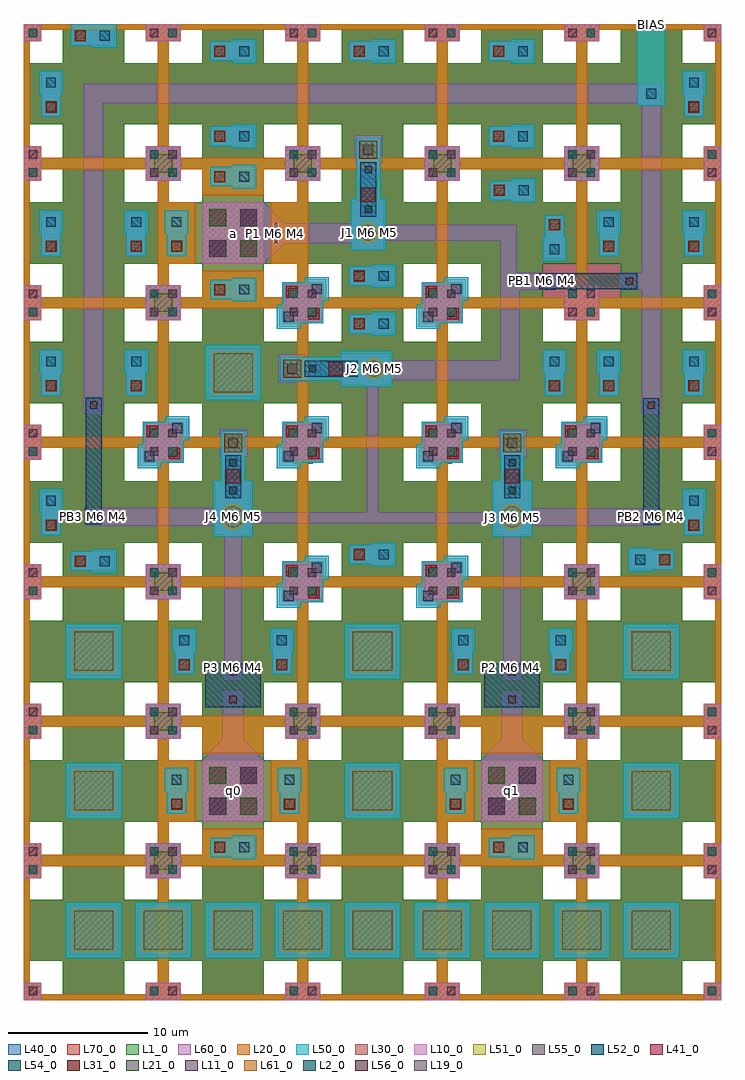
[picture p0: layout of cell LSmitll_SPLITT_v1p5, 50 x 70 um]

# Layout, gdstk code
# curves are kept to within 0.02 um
from math import pi, radians
import gdstk
lib = gdstk.Library(unit=1e-6, precision=1e-09)
def R(c, l, rs):  # rectangles x0, y0, x1, y1
    for r in rs: c.add(gdstk.rectangle(r[:2], r[2:], *l))
def P(c, l, *ps):  # polygons
    for p in ps: c.add(gdstk.Polygon(p, *l))
L1_0 = (1, 0)
L2_0 = (2, 0)
L10_0 = (10, 0)
L11_0 = (11, 0)
L19_0 = (19, 0)
L20_0 = (20, 0)
L21_0 = (21, 0)
L30_0 = (30, 0)
L31_0 = (31, 0)
L40_0 = (40, 0)
L41_0 = (41, 0)
L50_0 = (50, 0)
L51_0 = (51, 0)
L52_0 = (52, 0)
L54_0 = (54, 0)
L55_0 = (55, 0)
L56_0 = (56, 0)
L60_0 = (60, 0)
L61_0 = (61, 0)
L70_0 = (70, 0)

ls_fakejj_3umx3um = lib.new_cell('ls_FakeJJ_3umx3um')
R(ls_fakejj_3umx3um, L40_0, [(-2,-2,2,2)])
R(ls_fakejj_3umx3um, L50_0, [(-2,-2,2,2)])
R(ls_fakejj_3umx3um, L51_0, [(-1.5,-1.5,1.5,1.5)])
R(ls_fakejj_3umx3um, L55_0, [(-1.4,-1.4,1.4,1.4)])
R(ls_fakejj_3umx3um, L60_0, [(-1.75,-1.75,1.75,1.75)])

ls_conn_m4m5m6m7 = lib.new_cell('ls_conn_M4M5M6M7')
R(ls_conn_m4m5m6m7, L40_0, [(0,0,1.4,1.4)])
R(ls_conn_m4m5m6m7, L41_0, [(0.3,0.3,1.1,1.1)])
P(ls_conn_m4m5m6m7, L50_0, [(3.3,1.55),(1.6,1.55),(1.6,1.4),(0,1.4),(0,0),(1.6,0),(1.6,-0.15),(3.3,-0.15)])
R(ls_conn_m4m5m6m7, L54_0, [(2.1,0.35,2.8,1.05)])
R(ls_conn_m4m5m6m7, L60_0, [(0,0,3.15,1.4)])
R(ls_conn_m4m5m6m7, L61_0, [(0.35,0.35,1.05,1.05)])
R(ls_conn_m4m5m6m7, L70_0, [(0,0,1.4,1.4)])

ls_conn_m4m5m6m7_block = lib.new_cell('ls_conn_M4M5M6M7_block')
R(ls_conn_m4m5m6m7_block, L40_0, [(-1.475,-1.475,1.475,1.475)])
R(ls_conn_m4m5m6m7_block, L41_0, [(0.375,-1.175,1.175,-0.375), (-1.175,0.375,-0.375,1.175)])
P(ls_conn_m4m5m6m7_block, L50_0, [(1.85,1.85),(0.15,1.85),(0.15,1.475),(-1.475,1.475),(-1.475,-0.15),(-1.85,-0.15),(-1.85,-1.85),(-0.15,-1.85),(-0.15,-1.475),(1.475,-1.475),(1.475,0.15),(1.85,0.15)])
R(ls_conn_m4m5m6m7_block, L54_0, [(-1.35,-1.35,-0.65,-0.65), (0.65,0.65,1.35,1.35)])
P(ls_conn_m4m5m6m7_block, L60_0, [(1.7,1.7),(0.3,1.7),(0.3,1.45),(-1.45,1.45),(-1.45,-0.3),(-1.7,-0.3),(-1.7,-1.7),(-0.3,-1.7),(-0.3,-1.45),(1.45,-1.45),(1.45,0.3),(1.7,0.3)])
R(ls_conn_m4m5m6m7_block, L61_0, [(0.35,-1.05,1.05,-0.35), (-1.05,0.35,-0.35,1.05)])
R(ls_conn_m4m5m6m7_block, L70_0, [(-1.45,-1.45,1.45,1.45)])

ls_ib_185 = lib.new_cell('ls_ib_185')
R(ls_ib_185, L52_0, [(-0.575,0,0.575,9.075)])
R(ls_ib_185, L56_0, [(-0.26,0.29,0.26,0.81), (-0.26,8.29,0.26,8.81)])
R(ls_ib_185, L60_0, [(-0.625,-0.1,0.625,1.175), (-0.625,7.925,0.625,9.175)])

ls_fakejj_1p5x1p5um = lib.new_cell('ls_FakeJJ_1p5x1p5um')
R(ls_fakejj_1p5x1p5um, L40_0, [(-1.25,-1.25,1.25,1.25)])
R(ls_fakejj_1p5x1p5um, L50_0, [(-1.25,-1.25,1.25,1.25)])
R(ls_fakejj_1p5x1p5um, L51_0, [(-0.75,-0.75,0.75,0.75)])
R(ls_fakejj_1p5x1p5um, L55_0, [(-0.65,-0.65,0.65,0.65)])
R(ls_fakejj_1p5x1p5um, L60_0, [(-1,-1,1,1)])

ls_tr_m7 = lib.new_cell('ls_tr_M7')
P(ls_tr_m7, L70_0, [(10,10),(7.2,10),(7.2,9.6),(8.75,9.6),(8.75,8.75),(9.6,8.75),(9.6,7.2),(7.2,7.2),(7.2,2.8),(9.6,2.8),(9.6,1.25),(8.75,1.25),(8.75,0.4),(7.2,0.4),(7.2,10),(1.25,10),(1.25,9.6),(2.8,9.6),(2.8,7.2),(0.4,7.2),(0.4,2.8),(2.8,2.8),(2.8,0.4),(1.25,0.4),(1.25,1.25),(0.4,1.25),(0.4,8.75),(1.25,8.75),(1.25,10),(0,10),(0,0),(10,0)])

ls_tr_ptl_conn = lib.new_cell('ls_tr_ptl_conn')
P(ls_tr_ptl_conn, L1_0, [(10,10),(7.2,10),(7.2,9.6),(8.75,9.6),(8.75,8.75),(9.6,8.75),(9.6,7.2),(7.2,7.2),(7.2,2.8),(9.6,2.8),(9.6,1.25),(8.75,1.25),(8.75,0.4),(7.2,0.4),(7.2,10),(1.25,10),(1.25,9.6),(2.8,9.6),(2.8,7.2),(0.4,7.2),(0.4,2.8),(2.8,2.8),(2.8,0.4),(1.25,0.4),(1.25,1.25),(0.4,1.25),(0.4,8.75),(1.25,8.75),(1.25,10),(0,10),(0,0),(10,0)])
R(ls_tr_ptl_conn, L2_0, [(9.05,0.35,9.65,0.95), (0.35,9.05,0.95,9.65)])
R(ls_tr_ptl_conn, L10_0, [(0,0,1.25,1.25), (8.75,0,10,1.25), (2.8,2.8,7.2,7.2), (0,8.75,1.25,10), (8.75,8.75,10,10)])
R(ls_tr_ptl_conn, L11_0, [(0.35,0.35,0.95,0.95), (3.3,3.3,4.5,4.5), (5.5,5.5,6.7,6.7), (9.05,9.05,9.65,9.65)])
R(ls_tr_ptl_conn, L20_0, [(2.8,2.8,7.2,7.2)])
P(ls_tr_ptl_conn, L20_0, [(10,10),(7.2,10),(7.2,9.6),(8.75,9.6),(8.75,8.75),(9.6,8.75),(9.6,7.2),(7.7,7.2),(7.7,2.8),(9.6,2.8),(9.6,1.25),(8.75,1.25),(8.75,0.4),(7.2,0.4),(7.2,2.3),(2.8,2.3),(2.8,0.4),(1.25,0.4),(1.25,1.25),(0.4,1.25),(0.4,2.8),(2.3,2.8),(2.3,7.2),(0.4,7.2),(0.4,8.75),(1.25,8.75),(1.25,9.6),(2.8,9.6),(2.8,7.7),(7.2,7.7),(7.2,10),(0,10),(0,0),(10,0)])
R(ls_tr_ptl_conn, L21_0, [(9.05,0.35,9.65,0.95), (5.5,3.3,6.7,4.5), (3.3,5.5,4.5,6.7), (0.35,9.05,0.95,9.65)])
R(ls_tr_ptl_conn, L30_0, [(0,0,1.25,1.25), (8.75,0,10,1.25), (2.8,2.8,7.2,7.2), (0,8.75,1.25,10), (8.75,8.75,10,10)])
R(ls_tr_ptl_conn, L31_0, [(0.35,0.35,0.95,0.95), (3.3,3.3,4.5,4.5), (5.5,5.5,6.7,6.7), (9.05,9.05,9.65,9.65)])
R(ls_tr_ptl_conn, L40_0, [(2.8,2.8,7.2,7.2)])
P(ls_tr_ptl_conn, L40_0, [(10,10),(7.2,10),(7.2,9.6),(8.75,9.6),(8.75,8.75),(9.6,8.75),(9.6,7.2),(7.7,7.2),(7.7,2.8),(9.6,2.8),(9.6,1.25),(8.75,1.25),(8.75,0.4),(7.2,0.4),(7.2,2.3),(2.8,2.3),(2.8,0.4),(1.25,0.4),(1.25,1.25),(0.4,1.25),(0.4,2.8),(2.3,2.8),(2.3,7.2),(0.4,7.2),(0.4,8.75),(1.25,8.75),(1.25,9.6),(2.8,9.6),(2.8,7.7),(7.2,7.7),(7.2,10),(0,10),(0,0),(10,0)])
R(ls_tr_ptl_conn, L41_0, [(5.5,3.3,6.7,4.5), (3.3,5.5,4.5,6.7)])
R(ls_tr_ptl_conn, L50_0, [(2.8,2.8,7.2,7.2)])
R(ls_tr_ptl_conn, L54_0, [(3.3,3.3,4.5,4.5), (5.5,5.5,6.7,6.7)])
R(ls_tr_ptl_conn, L60_0, [(2.8,2.8,7.2,7.2)])
P(ls_tr_ptl_conn, L70_0, [(10,10),(7.2,10),(7.2,9.6),(8.75,9.6),(8.75,8.75),(9.6,8.75),(9.6,7.2),(7.2,7.2),(7.2,2.8),(9.6,2.8),(9.6,1.25),(8.75,1.25),(8.75,0.4),(7.2,0.4),(7.2,10),(1.25,10),(1.25,9.6),(2.8,9.6),(2.8,7.2),(0.4,7.2),(0.4,2.8),(2.8,2.8),(2.8,0.4),(1.25,0.4),(1.25,1.25),(0.4,1.25),(0.4,8.75),(1.25,8.75),(1.25,10),(0,10),(0,0),(10,0)])

ls_tr_u_m4 = lib.new_cell('ls_tr_u_M4')
P(ls_tr_u_m4, L1_0, [(10,10),(7.2,10),(7.2,9.6),(8.75,9.6),(8.75,8.75),(9.6,8.75),(9.6,7.2),(7.2,7.2),(7.2,2.8),(9.6,2.8),(9.6,1.25),(8.75,1.25),(8.75,0.4),(7.2,0.4),(7.2,10),(1.25,10),(1.25,9.6),(2.8,9.6),(2.8,7.2),(0.4,7.2),(0.4,2.8),(2.8,2.8),(2.8,0.4),(1.25,0.4),(1.25,1.25),(0.4,1.25),(0.4,8.75),(1.25,8.75),(1.25,10),(0,10),(0,0),(10,0)])
R(ls_tr_u_m4, L2_0, [(9.05,0.35,9.65,0.95), (0.35,9.05,0.95,9.65)])
R(ls_tr_u_m4, L10_0, [(0,0,1.25,1.25), (8.75,0,10,1.25), (0,8.75,1.25,10), (8.75,8.75,10,10)])
R(ls_tr_u_m4, L11_0, [(0.35,0.35,0.95,0.95), (9.05,9.05,9.65,9.65)])
P(ls_tr_u_m4, L20_0, [(10,10),(1.25,10),(1.25,9.6),(8.75,9.6),(8.75,8.75),(9.6,8.75),(9.6,1.25),(8.75,1.25),(8.75,0.4),(1.25,0.4),(1.25,1.25),(0.4,1.25),(0.4,8.75),(1.25,8.75),(1.25,10),(0,10),(0,0),(10,0)])
R(ls_tr_u_m4, L21_0, [(9.05,0.35,9.65,0.95), (0.35,9.05,0.95,9.65)])
R(ls_tr_u_m4, L30_0, [(0,0,1.25,1.25), (8.75,0,10,1.25), (0,8.75,1.25,10), (8.75,8.75,10,10)])
R(ls_tr_u_m4, L31_0, [(0.35,0.35,0.95,0.95), (9.05,9.05,9.65,9.65)])
P(ls_tr_u_m4, L40_0, [(10,10),(7.2,10),(7.2,9.6),(8.75,9.6),(8.75,8.75),(9.6,8.75),(9.6,7.2),(7.2,7.2),(7.2,2.8),(9.6,2.8),(9.6,1.25),(8.75,1.25),(8.75,0.4),(7.2,0.4),(7.2,10),(1.25,10),(1.25,9.6),(2.8,9.6),(2.8,7.2),(0.4,7.2),(0.4,2.8),(2.8,2.8),(2.8,0.4),(1.25,0.4),(1.25,1.25),(0.4,1.25),(0.4,8.75),(1.25,8.75),(1.25,10),(0,10),(0,0),(10,0)])

ls_conn_m5m6m7 = lib.new_cell('ls_conn_M5M6M7')
R(ls_conn_m5m6m7, L50_0, [(-0.5,-0.5,1.2,1.2)])
R(ls_conn_m5m6m7, L54_0, [(0,0,0.7,0.7)])
R(ls_conn_m5m6m7, L60_0, [(-0.65,-0.65,1.35,1.35)])
R(ls_conn_m5m6m7, L61_0, [(-0.3,-0.3,1,1)])
R(ls_conn_m5m6m7, L70_0, [(-0.65,-0.65,1.35,1.35)])

ls_jj160sg = lib.new_cell('ls_jj160sg')
R(ls_jj160sg, L41_0, [(-0.5,2.225,0.5,3.225)])
R(ls_jj160sg, L50_0, [(-1.25,-1.25,1.25,2.425), (-0.875,2.425,0.875,6.8)])
P(ls_jj160sg, L51_0, [(0,-0.735),(0.28,-0.68),(0.52,-0.52),(0.68,-0.28),(0.735,0),(0.68,0.28),(0.52,0.52),(0.28,0.68),(0,0.735),(-0.28,0.68),(-0.52,0.52),(-0.68,0.28),(-0.735,0),(-0.68,-0.28),(-0.52,-0.52),(-0.28,-0.68)])
R(ls_jj160sg, L52_0, [(-0.575,1.15,0.575,5.05)])
P(ls_jj160sg, L55_0, [(0,-0.58),(0.22,-0.54),(0.41,-0.41),(0.54,-0.22),(0.58,0),(0.54,0.23),(0.41,0.42),(0.22,0.54),(0,0.59),(-0.22,0.54),(-0.41,0.42),(-0.54,0.23),(-0.58,0),(-0.54,-0.22),(-0.41,-0.41),(-0.22,-0.54)])
R(ls_jj160sg, L56_0, [(-0.26,1.43,0.26,1.95), (-0.26,4.26,0.26,4.78)])
R(ls_jj160sg, L60_0, [(-1.1,-1.1,1.1,2.325), (-0.725,3.875,0.725,6.65)])
ls_jj160sg.add(gdstk.Reference(ls_conn_m5m6m7, (-0.35,5.6)))

ls_jj_166_sg = lib.new_cell('ls_jj_166_sg')
R(ls_jj_166_sg, L41_0, [(-0.5,2.25,0.5,3.25)])
R(ls_jj_166_sg, L50_0, [(-1.275,-1.275,1.275,2.45), (-0.875,2.45,0.875,6.725)])
P(ls_jj_166_sg, L51_0, [(0,-0.745),(0.285,-0.69),(0.53,-0.525),(0.69,-0.285),(0.745,0),(0.69,0.29),(0.53,0.53),(0.285,0.695),(0,0.75),(-0.285,0.695),(-0.53,0.53),(-0.69,0.29),(-0.745,0),(-0.69,-0.285),(-0.53,-0.525),(-0.285,-0.69)])
R(ls_jj_166_sg, L52_0, [(-0.575,1.175,0.575,4.975)])
P(ls_jj_166_sg, L55_0, [(0,-0.6),(0.23,-0.57),(0.42,-0.43),(0.55,-0.23),(0.6,0),(0.55,0.23),(0.42,0.42),(0.23,0.55),(0,0.61),(-0.23,0.55),(-0.42,0.42),(-0.55,0.23),(-0.6,0),(-0.55,-0.23),(-0.42,-0.43),(-0.23,-0.57)])
R(ls_jj_166_sg, L56_0, [(-0.26,1.45,0.26,1.97), (-0.26,4.19,0.26,4.71)])
R(ls_jj_166_sg, L60_0, [(-1.125,-1.125,1.125,2.35), (-0.725,3.825,0.725,6.575)])
ls_jj_166_sg.add(gdstk.Reference(ls_conn_m5m6m7, (-0.35,5.525)))

ls_jj250sg = lib.new_cell('ls_jj250sg')
R(ls_jj250sg, L41_0, [(-0.5,2.4,0.5,3.4)])
R(ls_jj250sg, L50_0, [(-1.425,-1.425,1.425,2.625), (-0.875,2.625,0.875,6.175)])
P(ls_jj250sg, L51_0, [(0,-0.91),(0.18,-0.895),(0.35,-0.84),(0.645,-0.645),(0.84,-0.35),(0.91,0),(0.895,0.18),(0.84,0.35),(0.645,0.645),(0.35,0.84),(0.18,0.895),(0,0.91),(-0.18,0.895),(-0.35,0.84),(-0.645,0.645),(-0.84,0.35),(-0.895,0.18),(-0.91,0),(-0.84,-0.35),(-0.645,-0.645),(-0.35,-0.84),(-0.18,-0.895)])
R(ls_jj250sg, L52_0, [(-0.575,1.35,0.575,4.425)])
R(ls_jj250sg, L54_0, [(-0.35,4.95,0.35,5.65)])
P(ls_jj250sg, L55_0, [(0,-0.76),(0.15,-0.75),(0.29,-0.7),(0.54,-0.54),(0.7,-0.29),(0.75,-0.15),(0.76,0),(0.75,0.15),(0.7,0.29),(0.54,0.54),(0.29,0.7),(0.15,0.75),(0,0.76),(-0.15,0.75),(-0.29,0.7),(-0.54,0.54),(-0.7,0.29),(-0.75,0.15),(-0.76,0),(-0.75,-0.15),(-0.7,-0.29),(-0.54,-0.54),(-0.29,-0.7),(-0.15,-0.75)])
R(ls_jj250sg, L56_0, [(-0.26,1.64,0.26,2.16), (-0.26,3.63,0.26,4.15)])
R(ls_jj250sg, L60_0, [(-1.275,-1.275,1.275,2.525), (-0.725,3.25,0.725,6.025)])
ls_jj250sg.add(gdstk.Reference(ls_conn_m5m6m7, (-0.35,4.95)))

ls_res_1p36 = lib.new_cell('ls_res_1p36')
R(ls_res_1p36, L52_0, [(-2,0,2,3.1)])
R(ls_res_1p36, L56_0, [(-0.26,0.29,0.26,0.81), (-0.26,2.3,0.26,2.82)])
R(ls_res_1p36, L60_0, [(-0.625,-0.1,0.625,1.175), (-0.625,1.925,0.625,3.2)])

ls_ib_255 = lib.new_cell('ls_ib_255')
R(ls_ib_255, L52_0, [(-0.575,0,0.575,7.025)])
R(ls_ib_255, L56_0, [(-0.26,0.29,0.26,0.81), (-0.26,6.22,0.26,6.74)])
R(ls_ib_255, L60_0, [(-0.625,-0.1,0.625,1.175), (-0.625,5.85,0.625,7.125)])

ls_conn_m5m6 = lib.new_cell('ls_conn_M5M6')
R(ls_conn_m5m6, L50_0, [(0,0,1.7,1.7)])
R(ls_conn_m5m6, L54_0, [(0.5,0.5,1.2,1.2)])
R(ls_conn_m5m6, L60_0, [(0.15,0.15,1.55,1.55)])

lsmitll_splitt_v1p5 = lib.new_cell('LSmitll_SPLITT_v1p5')
R(lsmitll_splitt_v1p5, L19_0, [(44.75,34.4,45.25,34.9), (4.75,34.425,5.25,34.925)])
R(lsmitll_splitt_v1p5, L40_0, [(19.3,38.45,20.7,38.775), (29.3,38.45,30.7,38.75), (37.1,50.25,43.225,53.525)])
R(lsmitll_splitt_v1p5, L50_0, [(44,64.15,46,70), (3.35,69.85,4.95,70)])
R(lsmitll_splitt_v1p5, L60_0, [(14.275,18.675,15.725,22.175), (34.275,18.675,35.725,22.175), (34.376,23.05,35.626,33.7), (14.375,23.075,15.625,33.7), (4.375,34,13.9,35.3), (36.101,34,45.576,35.275), (34.15,50.925,37.125,52.175), (44.075,50.925,44.35,52.175), (17.2,54.275,23.95,55.725), (3.35,69.85,6.5,70)])
P(lsmitll_splitt_v1p5, L60_0, [(12.8,17.2),(17.2,17.2),(15.725,18.675),(14.275,18.675)],
  [(32.8,17.2),(37.2,17.2),(35.725,18.675),(34.275,18.675)],
  [(17.2,57.2),(17.2,52.8),(18.675,54.275),(18.675,55.725)])
R(lsmitll_splitt_v1p5, L70_0, [(36.85,50.1,43.175,53.15)])
lsmitll_splitt_v1p5.add(gdstk.FlexPath([(45,65.7),(45,42.025)], 1.4, ends="flush", simple_path=True, layer=60, datatype=0))  # L60_0
lsmitll_splitt_v1p5.add(gdstk.FlexPath([(45,65),(5,65),(5,42.05)], 1.4, ends="flush", simple_path=True, layer=60, datatype=0))  # L60_0
lsmitll_splitt_v1p5.add(gdstk.FlexPath([(35.475,45.175),(26.225,45.175)], 1.45, ends="flush", simple_path=True, layer=60, datatype=0))  # L60_0
lsmitll_splitt_v1p5.add(gdstk.FlexPath([(34.85,50.925),(34.85,44.45)], 1.4, ends="flush", simple_path=True, layer=60, datatype=0))  # L60_0
lsmitll_splitt_v1p5.add(gdstk.FlexPath([(34.75,51.925),(34.75,55.6)], 1.2, ends="flush", simple_path=True, layer=60, datatype=0))  # L60_0
lsmitll_splitt_v1p5.add(gdstk.FlexPath([(25.675,55.025),(35.3,55.025)], 1.15, ends="flush", simple_path=True, layer=60, datatype=0))  # L60_0
lsmitll_splitt_v1p5.add(gdstk.FlexPath([(25,34.625),(25,44.275)], 0.85, ends="flush", simple_path=True, layer=60, datatype=0))  # L60_0
lsmitll_splitt_v1p5.add(gdstk.FlexPath([(16.25,34.6),(33.775,34.6)], 0.8, ends="flush", simple_path=True, layer=60, datatype=0))  # L60_0
lsmitll_splitt_v1p5.add(gdstk.FlexPath([(37.225,52.125),(37.225,50.975)], 0.2, ends="flush", simple_path=True, layer=19, datatype=0))  # L19_0
lsmitll_splitt_v1p5.add(gdstk.FlexPath([(18.075,55.725),(18.075,54.275)], 0.2, ends="flush", simple_path=True, layer=19, datatype=0))  # L19_0
lsmitll_splitt_v1p5.add(gdstk.FlexPath([(15.575,23.825),(14.425,23.825)], 0.2, ends="flush", simple_path=True, layer=19, datatype=0))  # L19_0
lsmitll_splitt_v1p5.add(gdstk.FlexPath([(35.575,23.825),(34.425,23.825)], 0.2, ends="flush", simple_path=True, layer=19, datatype=0))  # L19_0
lsmitll_splitt_v1p5.add(gdstk.Reference(ls_fakejj_3umx3um, (15,45)))
lsmitll_splitt_v1p5.add(gdstk.Reference(ls_fakejj_3umx3um, (45,5)))
lsmitll_splitt_v1p5.add(gdstk.Reference(ls_fakejj_3umx3um, (35,5)))
lsmitll_splitt_v1p5.add(gdstk.Reference(ls_fakejj_3umx3um, (25,5)))
lsmitll_splitt_v1p5.add(gdstk.Reference(ls_fakejj_3umx3um, (15,5)))
lsmitll_splitt_v1p5.add(gdstk.Reference(ls_fakejj_3umx3um, (5,5)))
lsmitll_splitt_v1p5.add(gdstk.Reference(ls_fakejj_3umx3um, (5,25)))
lsmitll_splitt_v1p5.add(gdstk.Reference(ls_fakejj_3umx3um, (5,15)))
lsmitll_splitt_v1p5.add(gdstk.Reference(ls_conn_m4m5m6m7, (2.65,33.35), rotation=pi/2))
lsmitll_splitt_v1p5.add(gdstk.Reference(ls_conn_m4m5m6m7_block, (20,30)))
lsmitll_splitt_v1p5.add(gdstk.Reference(ls_conn_m4m5m6m7_block, (30,30)))
lsmitll_splitt_v1p5.add(gdstk.Reference(ls_conn_m4m5m6m7_block, (30,50)))
lsmitll_splitt_v1p5.add(gdstk.Reference(ls_conn_m4m5m6m7_block, (20,50)))
lsmitll_splitt_v1p5.add(gdstk.Reference(ls_conn_m4m5m6m7_block, (30,40)))
lsmitll_splitt_v1p5.add(gdstk.Reference(ls_conn_m4m5m6m7_block, (20,40)))
lsmitll_splitt_v1p5.add(gdstk.Reference(ls_ib_185, (45,34.1)))
lsmitll_splitt_v1p5.add(gdstk.Reference(ls_ib_185, (5,34.125)))
lsmitll_splitt_v1p5.add(gdstk.Reference(ls_conn_m4m5m6m7, (33.35,10.25)))
lsmitll_splitt_v1p5.add(gdstk.Reference(ls_conn_m4m5m6m7, (13.35,10.25)))
lsmitll_splitt_v1p5.add(gdstk.Reference(ls_conn_m4m5m6m7, (39.75,13.35), rotation=pi/2))
lsmitll_splitt_v1p5.add(gdstk.Reference(ls_conn_m4m5m6m7, (31.65,13.35), rotation=pi/2))
lsmitll_splitt_v1p5.add(gdstk.Reference(ls_conn_m4m5m6m7, (11.65,13.35), rotation=pi/2))
lsmitll_splitt_v1p5.add(gdstk.Reference(ls_conn_m4m5m6m7, (19.75,13.35), rotation=pi/2))
lsmitll_splitt_v1p5.add(gdstk.Reference(ls_conn_m4m5m6m7, (11.65,53.35), rotation=pi/2))
lsmitll_splitt_v1p5.add(gdstk.Reference(ls_conn_m4m5m6m7, (8.75,53.35), rotation=pi/2))
lsmitll_splitt_v1p5.add(gdstk.Reference(ls_conn_m4m5m6m7, (8.75,43.35), rotation=pi/2))
lsmitll_splitt_v1p5.add(gdstk.Reference(ls_conn_m4m5m6m7, (2.65,43.35), rotation=pi/2))
lsmitll_splitt_v1p5.add(gdstk.Reference(ls_conn_m4m5m6m7, (2.65,53.35), rotation=pi/2))
lsmitll_splitt_v1p5.add(gdstk.Reference(ls_conn_m4m5m6m7, (2.65,63.35), rotation=pi/2))
lsmitll_splitt_v1p5.add(gdstk.Reference(ls_conn_m4m5m6m7, (48.75,33.35), rotation=pi/2))
lsmitll_splitt_v1p5.add(gdstk.Reference(ls_conn_m4m5m6m7, (48.75,63.35), rotation=pi/2))
lsmitll_splitt_v1p5.add(gdstk.Reference(ls_conn_m4m5m6m7, (48.75,53.35), rotation=pi/2))
lsmitll_splitt_v1p5.add(gdstk.Reference(ls_conn_m4m5m6m7, (42.65,53.35), rotation=pi/2))
lsmitll_splitt_v1p5.add(gdstk.Reference(ls_conn_m4m5m6m7, (42.65,43.35), rotation=pi/2))
lsmitll_splitt_v1p5.add(gdstk.Reference(ls_conn_m4m5m6m7, (48.75,43.35), rotation=pi/2))
lsmitll_splitt_v1p5.add(gdstk.Reference(ls_conn_m4m5m6m7, (13.35,50.25)))
lsmitll_splitt_v1p5.add(gdstk.Reference(ls_conn_m4m5m6m7, (13.35,58.35)))
lsmitll_splitt_v1p5.add(gdstk.Reference(ls_conn_m4m5m6m7, (33.35,61.25)))
lsmitll_splitt_v1p5.add(gdstk.Reference(ls_conn_m4m5m6m7, (13.35,61.25)))
lsmitll_splitt_v1p5.add(gdstk.Reference(ls_conn_m4m5m6m7, (3.35,68.45)))
lsmitll_splitt_v1p5.add(gdstk.Reference(ls_conn_m4m5m6m7, (13.35,67.35)))
lsmitll_splitt_v1p5.add(gdstk.Reference(ls_conn_m4m5m6m7, (23.35,67.35)))
lsmitll_splitt_v1p5.add(gdstk.Reference(ls_conn_m4m5m6m7, (33.35,67.35)))
lsmitll_splitt_v1p5.add(gdstk.Reference(ls_fakejj_1p5x1p5um, (40,10)))
lsmitll_splitt_v1p5.add(gdstk.Reference(ls_fakejj_1p5x1p5um, (30,10)))
lsmitll_splitt_v1p5.add(gdstk.Reference(ls_fakejj_1p5x1p5um, (20,10)))
lsmitll_splitt_v1p5.add(gdstk.Reference(ls_fakejj_1p5x1p5um, (10,10)))
lsmitll_splitt_v1p5.add(gdstk.Reference(ls_fakejj_1p5x1p5um, (10,20)))
lsmitll_splitt_v1p5.add(gdstk.Reference(ls_fakejj_1p5x1p5um, (20,20)))
lsmitll_splitt_v1p5.add(gdstk.Reference(ls_fakejj_1p5x1p5um, (30,20)))
lsmitll_splitt_v1p5.add(gdstk.Reference(ls_fakejj_1p5x1p5um, (40,20)))
lsmitll_splitt_v1p5.add(gdstk.Reference(ls_fakejj_1p5x1p5um, (40,30)))
lsmitll_splitt_v1p5.add(gdstk.Reference(ls_fakejj_1p5x1p5um, (10,30)))
lsmitll_splitt_v1p5.add(gdstk.Reference(ls_fakejj_1p5x1p5um, (40,60)))
lsmitll_splitt_v1p5.add(gdstk.Reference(ls_fakejj_1p5x1p5um, (30,60)))
lsmitll_splitt_v1p5.add(gdstk.Reference(ls_fakejj_1p5x1p5um, (20,60)))
lsmitll_splitt_v1p5.add(gdstk.Reference(ls_fakejj_1p5x1p5um, (10,60)))
lsmitll_splitt_v1p5.add(gdstk.Reference(ls_conn_m4m5m6m7, (23.35,31.25)))
lsmitll_splitt_v1p5.add(gdstk.Reference(ls_conn_m4m5m6m7, (3.35,30.775)))
lsmitll_splitt_v1p5.add(gdstk.Reference(ls_conn_m4m5m6m7, (33.4,57.375)))
lsmitll_splitt_v1p5.add(gdstk.Reference(ls_tr_m7, (40,0)))
lsmitll_splitt_v1p5.add(gdstk.Reference(ls_tr_m7, (30,0)))
lsmitll_splitt_v1p5.add(gdstk.Reference(ls_tr_m7, (20,0)))
lsmitll_splitt_v1p5.add(gdstk.Reference(ls_tr_m7, (10,0)))
lsmitll_splitt_v1p5.add(gdstk.Reference(ls_tr_m7, (0,0)))
lsmitll_splitt_v1p5.add(gdstk.Reference(ls_tr_m7, (0,10)))
lsmitll_splitt_v1p5.add(gdstk.Reference(ls_tr_m7, (20,10)))
lsmitll_splitt_v1p5.add(gdstk.Reference(ls_tr_m7, (40,10)))
lsmitll_splitt_v1p5.add(gdstk.Reference(ls_tr_m7, (40,20)))
lsmitll_splitt_v1p5.add(gdstk.Reference(ls_tr_m7, (30,20)))
lsmitll_splitt_v1p5.add(gdstk.Reference(ls_tr_m7, (20,20)))
lsmitll_splitt_v1p5.add(gdstk.Reference(ls_tr_m7, (10,20)))
lsmitll_splitt_v1p5.add(gdstk.Reference(ls_tr_m7, (0,20)))
lsmitll_splitt_v1p5.add(gdstk.Reference(ls_tr_m7, (0,30)))
lsmitll_splitt_v1p5.add(gdstk.Reference(ls_tr_m7, (10,30)))
lsmitll_splitt_v1p5.add(gdstk.Reference(ls_tr_m7, (20,30)))
lsmitll_splitt_v1p5.add(gdstk.Reference(ls_tr_m7, (30,30)))
lsmitll_splitt_v1p5.add(gdstk.Reference(ls_tr_m7, (40,30)))
lsmitll_splitt_v1p5.add(gdstk.Reference(ls_tr_m7, (40,40)))
lsmitll_splitt_v1p5.add(gdstk.Reference(ls_tr_m7, (30,40)))
lsmitll_splitt_v1p5.add(gdstk.Reference(ls_tr_m7, (20,40)))
lsmitll_splitt_v1p5.add(gdstk.Reference(ls_tr_m7, (10,40)))
lsmitll_splitt_v1p5.add(gdstk.Reference(ls_tr_m7, (0,40)))
lsmitll_splitt_v1p5.add(gdstk.Reference(ls_tr_m7, (0,50)))
lsmitll_splitt_v1p5.add(gdstk.Reference(ls_tr_m7, (20,50)))
lsmitll_splitt_v1p5.add(gdstk.Reference(ls_tr_m7, (30,50)))
lsmitll_splitt_v1p5.add(gdstk.Reference(ls_tr_m7, (40,50)))
lsmitll_splitt_v1p5.add(gdstk.Reference(ls_tr_m7, (40,60)))
lsmitll_splitt_v1p5.add(gdstk.Reference(ls_tr_m7, (30,60)))
lsmitll_splitt_v1p5.add(gdstk.Reference(ls_tr_m7, (20,60)))
lsmitll_splitt_v1p5.add(gdstk.Reference(ls_tr_m7, (10,60)))
lsmitll_splitt_v1p5.add(gdstk.Reference(ls_tr_m7, (0,60)))
lsmitll_splitt_v1p5.add(gdstk.Reference(ls_tr_ptl_conn, (30,10)))
lsmitll_splitt_v1p5.add(gdstk.Reference(ls_tr_ptl_conn, (10,10)))
lsmitll_splitt_v1p5.add(gdstk.Reference(ls_tr_ptl_conn, (10,50)))
lsmitll_splitt_v1p5.add(gdstk.Reference(ls_tr_u_m4, (40,0)))
lsmitll_splitt_v1p5.add(gdstk.Reference(ls_tr_u_m4, (40,20)))
lsmitll_splitt_v1p5.add(gdstk.Reference(ls_tr_u_m4, (40,30)))
lsmitll_splitt_v1p5.add(gdstk.Reference(ls_tr_u_m4, (40,40)))
lsmitll_splitt_v1p5.add(gdstk.Reference(ls_tr_u_m4, (40,50)))
lsmitll_splitt_v1p5.add(gdstk.Reference(ls_tr_u_m4, (40,60)))
lsmitll_splitt_v1p5.add(gdstk.Reference(ls_tr_u_m4, (30,60)))
lsmitll_splitt_v1p5.add(gdstk.Reference(ls_tr_u_m4, (30,50)))
lsmitll_splitt_v1p5.add(gdstk.Reference(ls_tr_u_m4, (30,40)))
lsmitll_splitt_v1p5.add(gdstk.Reference(ls_tr_u_m4, (30,30)))
lsmitll_splitt_v1p5.add(gdstk.Reference(ls_tr_u_m4, (30,20)))
lsmitll_splitt_v1p5.add(gdstk.Reference(ls_tr_u_m4, (40,10)))
lsmitll_splitt_v1p5.add(gdstk.Reference(ls_tr_u_m4, (30,0)))
lsmitll_splitt_v1p5.add(gdstk.Reference(ls_tr_u_m4, (20,0)))
lsmitll_splitt_v1p5.add(gdstk.Reference(ls_tr_u_m4, (20,10)))
lsmitll_splitt_v1p5.add(gdstk.Reference(ls_tr_u_m4, (20,20)))
lsmitll_splitt_v1p5.add(gdstk.Reference(ls_tr_u_m4, (20,30)))
lsmitll_splitt_v1p5.add(gdstk.Reference(ls_tr_u_m4, (20,40)))
lsmitll_splitt_v1p5.add(gdstk.Reference(ls_tr_u_m4, (20,50)))
lsmitll_splitt_v1p5.add(gdstk.Reference(ls_tr_u_m4, (20,60)))
lsmitll_splitt_v1p5.add(gdstk.Reference(ls_tr_u_m4, (10,60)))
lsmitll_splitt_v1p5.add(gdstk.Reference(ls_tr_u_m4, (0,50)))
lsmitll_splitt_v1p5.add(gdstk.Reference(ls_tr_u_m4, (10,40)))
lsmitll_splitt_v1p5.add(gdstk.Reference(ls_tr_u_m4, (10,30)))
lsmitll_splitt_v1p5.add(gdstk.Reference(ls_tr_u_m4, (10,20)))
lsmitll_splitt_v1p5.add(gdstk.Reference(ls_tr_u_m4, (0,10)))
lsmitll_splitt_v1p5.add(gdstk.Reference(ls_tr_u_m4, (10,0)))
lsmitll_splitt_v1p5.add(gdstk.Reference(ls_tr_u_m4, (0,0)))
lsmitll_splitt_v1p5.add(gdstk.Reference(ls_tr_u_m4, (0,20)))
lsmitll_splitt_v1p5.add(gdstk.Reference(ls_tr_u_m4, (0,30)))
lsmitll_splitt_v1p5.add(gdstk.Reference(ls_tr_u_m4, (0,40)))
lsmitll_splitt_v1p5.add(gdstk.Reference(ls_tr_u_m4, (0,60)))
lsmitll_splitt_v1p5.add(gdstk.Reference(ls_jj160sg, (24.7,55.025)))
lsmitll_splitt_v1p5.add(gdstk.Reference(ls_jj_166_sg, (25.125,45.275), rotation=pi/2))
lsmitll_splitt_v1p5.add(gdstk.Reference(ls_jj250sg, (15,34.65)))
lsmitll_splitt_v1p5.add(gdstk.Reference(ls_res_1p36, (15,21)))
lsmitll_splitt_v1p5.add(gdstk.Reference(ls_ib_255, (43.975,51.55), rotation=pi/2))
lsmitll_splitt_v1p5.add(gdstk.Reference(ls_res_1p36, (35.001,21), rotation=pi, x_reflection=True))
lsmitll_splitt_v1p5.add(gdstk.Reference(ls_jj250sg, (35.026,34.65), rotation=pi, x_reflection=True))
lsmitll_splitt_v1p5.add(gdstk.Reference(ls_conn_m4m5m6m7, (46.65,30.875), rotation=pi, x_reflection=True))
lsmitll_splitt_v1p5.add(gdstk.Reference(ls_conn_m4m5m6m7, (23.35,51.225)))
lsmitll_splitt_v1p5.add(gdstk.Reference(ls_conn_m4m5m6m7, (23.35,47.8)))
lsmitll_splitt_v1p5.add(gdstk.Reference(ls_conn_m4m5m6m7, (38.75,43.35), rotation=pi/2))
lsmitll_splitt_v1p5.add(gdstk.Reference(ls_conn_m4m5m6m7, (39.2,23.35), rotation=pi/2))
lsmitll_splitt_v1p5.add(gdstk.Reference(ls_conn_m4m5m6m7, (32.2,23.35), rotation=pi/2))
lsmitll_splitt_v1p5.add(gdstk.Reference(ls_conn_m4m5m6m7, (19.2,23.35), rotation=pi/2))
lsmitll_splitt_v1p5.add(gdstk.Reference(ls_conn_m4m5m6m7, (12.2,23.35), rotation=pi/2))
lsmitll_splitt_v1p5.add(gdstk.Reference(ls_conn_m4m5m6m7, (37.35,56.3), rotation=3*pi/2))
lsmitll_splitt_v1p5.add(gdstk.Reference(ls_fakejj_1p5x1p5um, (10,50)))
lsmitll_splitt_v1p5.add(gdstk.Reference(ls_conn_m5m6, (44.15,64.15)))
lsmitll_splitt_v1p5.add(gdstk.Reference(ls_conn_m4m5m6m7_block, (40,40)))
lsmitll_splitt_v1p5.add(gdstk.Reference(ls_conn_m4m5m6m7_block, (10,40)))
lsmitll_splitt_v1p5.add(gdstk.Reference(ls_fakejj_3umx3um, (25,15)))
lsmitll_splitt_v1p5.add(gdstk.Reference(ls_fakejj_3umx3um, (45,15)))
lsmitll_splitt_v1p5.add(gdstk.Reference(ls_fakejj_3umx3um, (45,25)))
lsmitll_splitt_v1p5.add(gdstk.Reference(ls_fakejj_3umx3um, (25,25)))
lsmitll_splitt_v1p5.add(gdstk.Reference(ls_fakejj_3umx3um, (10,5)))
lsmitll_splitt_v1p5.add(gdstk.Reference(ls_fakejj_3umx3um, (20,5)))
lsmitll_splitt_v1p5.add(gdstk.Reference(ls_fakejj_3umx3um, (30,5)))
lsmitll_splitt_v1p5.add(gdstk.Reference(ls_fakejj_3umx3um, (40,5)))
lsmitll_splitt_v1p5.add(gdstk.Label('BIAS', (45,70), layer=182, texttype=0))
lsmitll_splitt_v1p5.add(gdstk.Label('q1', (35,15), layer=182, texttype=0))
lsmitll_splitt_v1p5.add(gdstk.Label('q0', (15,15), layer=182, texttype=0))
lsmitll_splitt_v1p5.add(gdstk.Label('a', (15,55), layer=182, texttype=0))
lsmitll_splitt_v1p5.add(gdstk.Label('PB2 M6 M4', (45.025,34.65), layer=182, texttype=0))
lsmitll_splitt_v1p5.add(gdstk.Label('J3 M6 M5', (35.025,34.625), layer=182, texttype=0))
lsmitll_splitt_v1p5.add(gdstk.Label('P2 M6 M4', (34.95,23.825), layer=182, texttype=0))
lsmitll_splitt_v1p5.add(gdstk.Label('P3 M6 M4', (15,23.825), layer=182, texttype=0))
lsmitll_splitt_v1p5.add(gdstk.Label('PB3 M6 M4', (5,34.675), layer=182, texttype=0))
lsmitll_splitt_v1p5.add(gdstk.Label('J4 M6 M5', (15,34.65), layer=182, texttype=0))
lsmitll_splitt_v1p5.add(gdstk.Label('J2 M6 M5', (25.125,45.3), layer=182, texttype=0))
lsmitll_splitt_v1p5.add(gdstk.Label('PB1 M6 M4', (37.2,51.625), layer=182, texttype=0))
lsmitll_splitt_v1p5.add(gdstk.Label('J1 M6 M5', (24.75,55.05), layer=182, texttype=0))
lsmitll_splitt_v1p5.add(gdstk.Label('P1 M6 M4', (18.075,54.975), layer=182, texttype=0))

lib.write_gds('LSmitll_SPLITT_v1p5.gds')
